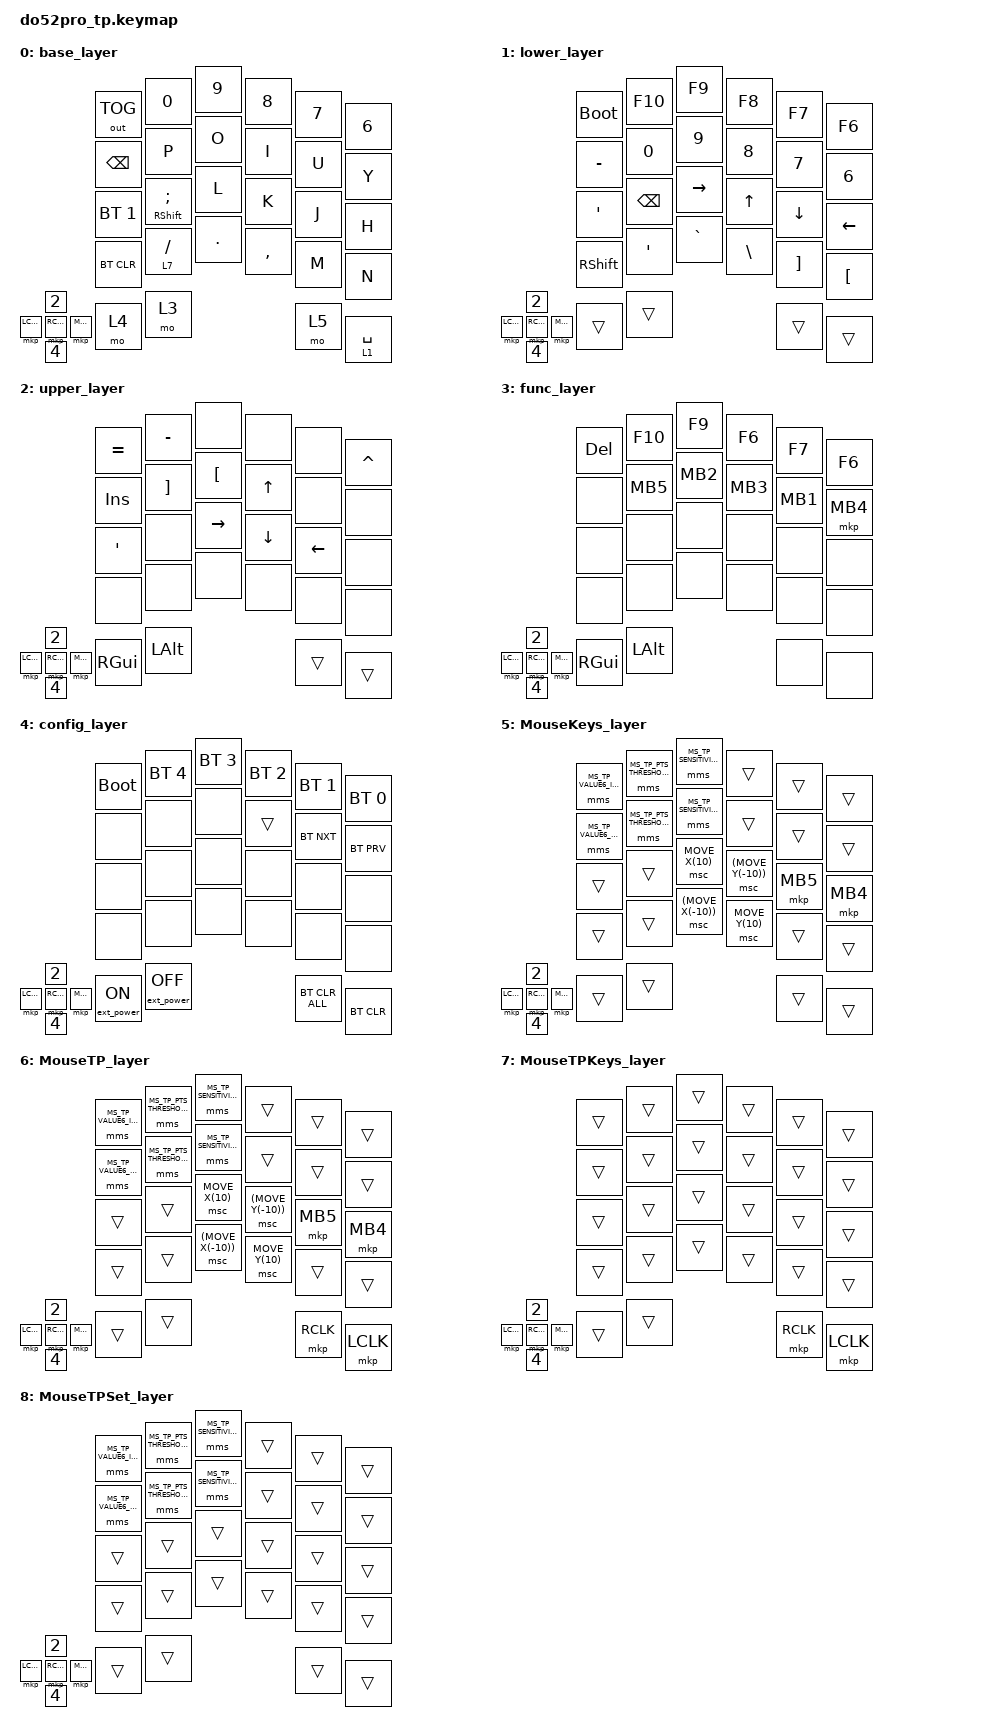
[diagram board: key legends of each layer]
#include <zephyr/dt-bindings/input/input-event-codes.h>

#define BASE 0
#define LOWER 1
#define UPPER 2
#define FUNC 3
#define CONFIG 4
#define MOUSE_KEYS 5
#define MOUSE_TP 6
#define MOUSE_TP_KEYS 7
#define MOUSE_TP_SET 8

#ifdef HAS_UROB
#define HAS_TRI_STATE
#define HAS_NUM_WORD
#endif

#define HAS_MOUSE_KEYS
#define HAS_MOUSE_TP
#define HAS_TRI_STATE

#include "includes/mouse_keys.dtsi"
#include "includes/mouse_tp.dtsi"
#include "includes/mouse_tp_badjeff_input_listener.dtsi"
#include <dt-bindings/zmk/mouse.h>
#include <behaviors.dtsi>
#include <dt-bindings/zmk/bt.h>
#include <dt-bindings/zmk/ext_power.h>
#include <dt-bindings/zmk/keys.h>
#include <dt-bindings/zmk/outputs.h>

&mt { flavor = "tap-preferred"; };

/ {
    combos {
        compatible = "zmk,combos";

        esc {
            bindings = <&kp ESCAPE>;
            key-positions = <13 14>; // 右手専用33キー構成での L + K 位置
        };

        tab {
            bindings = <&kp TAB>;
            key-positions = <19 20>; // 右手専用33キー構成での COMMA + M 位置
        };
    };

    keymap {
        compatible = "zmk,keymap";

        base_layer {
            bindings = <
&out OUT_TOG  &kp N0           &kp N9   &kp N8     &kp N7  &kp N6
&kp BSPC      &kp P            &kp O    &kp I      &kp U   &kp Y
&bt BT_SEL 1  &mt RSHIFT SEMI  &kp L    &kp K      &kp J   &kp H
&bt BT_CLR    &lt 7 FSLH       &kp DOT  &kp COMMA  &kp M   &kp N
&mo 4         &mo 3                                &mo 5   &lt 1 SPACE
              &mkp LCLK        &kp N4   &mkp RCLK  &kp N2  &mkp MCLK
            >;
        };

        lower_layer {
            bindings = <
&bootloader      &kp F10   &kp F9     &kp F8    &kp F7    &kp F6
&kp MINUS        &kp N0    &kp N9     &kp N8    &kp N7    &kp N6
&kp APOS         &kp BSPC  &kp RIGHT  &kp UP    &kp DOWN  &kp LEFT
&kp RIGHT_SHIFT  &kp SQT   &kp GRAVE  &kp BSLH  &kp RBKT  &kp LBKT
&trans           &trans                         &trans    &trans
                 &mkp LCLK &kp N4     &mkp RCLK &kp N2    &mkp MCLK
            >;
        };

        upper_layer {
            bindings = <
&kp EQUAL  &kp MINUS          &none             &none           &none           &kp CARET
&kp INS    &kp RIGHT_BRACKET  &kp LEFT_BRACKET  &kp UP_ARROW    &none           &none
&kp APOS   &none              &kp RIGHT_ARROW   &kp DOWN_ARROW  &kp LEFT_ARROW  &none
&none      &none              &none             &none           &none           &none
&kp RGUI   &kp LALT                                             &trans          &trans
           &mkp LCLK          &kp N4            &mkp RCLK       &kp N2          &mkp MCLK
            >;
        };

        func_layer {
            bindings = <
&kp DEL   &kp F10    &kp F9   &kp F6     &kp F7   &kp F6
&none     &kp MB5    &kp MB2  &kp MB3    &kp MB1  &mkp MB4
&none     &none      &none    &none      &none    &none
&none     &none      &none    &none      &none    &none
&kp RGUI  &kp LALT                       &none    &none
          &mkp LCLK  &kp N4   &mkp RCLK  &kp N2   &mkp MCLK
            >;
        };

        config_layer {
            bindings = <
&bootloader       &bt BT_SEL 4       &bt BT_SEL 3  &bt BT_SEL 2  &bt BT_SEL 1    &bt BT_SEL 0
&none             &none              &none         &trans        &bt BT_NXT      &bt BT_PRV
&none             &none              &none         &none         &none           &none
&none             &none              &none         &none         &none           &none
&ext_power EP_ON  &ext_power EP_OFF                              &bt BT_CLR_ALL  &bt BT_CLR
                  &mkp LCLK          &kp N4        &mkp RCLK     &kp N2          &mkp MCLK
            >;
        };

        MouseKeys_layer {
            bindings = <
&mms MS_TP_VALUE6_INCR  &mms MS_TP_PTS_THRESHOLD_INCR  &mms MS_TP_SENSITIVITY_INCR  &trans              &trans    &trans
&mms MS_TP_VALUE6_DECR  &mms MS_TP_PTS_THRESHOLD_DECR  &mms MS_TP_SENSITIVITY_DECR  &trans              &trans    &trans
&trans                  &trans                         &msc MOVE_X(10)              &msc (MOVE_Y(-10))  &mkp MB5  &mkp MB4
&trans                  &trans                         &msc (MOVE_X(-10))           &msc MOVE_Y(10)     &trans    &trans
&trans                  &trans                                                                          &trans    &trans
                        &mkp LCLK                      &kp N4                       &mkp RCLK           &kp N2    &mkp MCLK
            >;
        };

        MouseTP_layer {
            bindings = <
&mms MS_TP_VALUE6_INCR  &mms MS_TP_PTS_THRESHOLD_INCR  &mms MS_TP_SENSITIVITY_INCR  &trans              &trans     &trans
&mms MS_TP_VALUE6_DECR  &mms MS_TP_PTS_THRESHOLD_DECR  &mms MS_TP_SENSITIVITY_DECR  &trans              &trans     &trans
&trans                  &trans                         &msc MOVE_X(10)              &msc (MOVE_Y(-10))  &mkp MB5   &mkp MB4
&trans                  &trans                         &msc (MOVE_X(-10))           &msc MOVE_Y(10)     &trans     &trans
&trans                  &trans                                                                          &mkp RCLK  &mkp LCLK
                        &mkp LCLK                      &kp N4                       &mkp RCLK           &kp N2     &mkp MCLK
            >;
        };

        MouseTPKeys_layer {
            bindings = <
&trans  &trans  &trans  &trans     &trans     &trans
&trans  &trans  &trans  &trans     &trans     &trans
&trans  &trans  &trans  &trans     &trans     &trans
&trans  &trans  &trans  &trans     &trans     &trans
&trans  &trans                     &mkp RCLK  &mkp LCLK
        &mkp LCLK &kp N4 &mkp RCLK &kp N2     &mkp MCLK
            >;
        };

        MouseTPSet_layer {
            bindings = <
&mms MS_TP_VALUE6_INCR  &mms MS_TP_PTS_THRESHOLD_INCR  &mms MS_TP_SENSITIVITY_INCR  &trans  &trans  &trans
&mms MS_TP_VALUE6_DECR  &mms MS_TP_PTS_THRESHOLD_DECR  &mms MS_TP_SENSITIVITY_DECR  &trans  &trans  &trans
&trans                  &trans                         &trans                       &trans  &trans  &trans
&trans                  &trans                         &trans                       &trans  &trans  &trans
&trans                  &trans                                                              &trans  &trans
                        &mkp LCLK                      &kp N4                       &mkp RCLK &kp N2  &mkp MCLK
            >;
        };
    };
};
